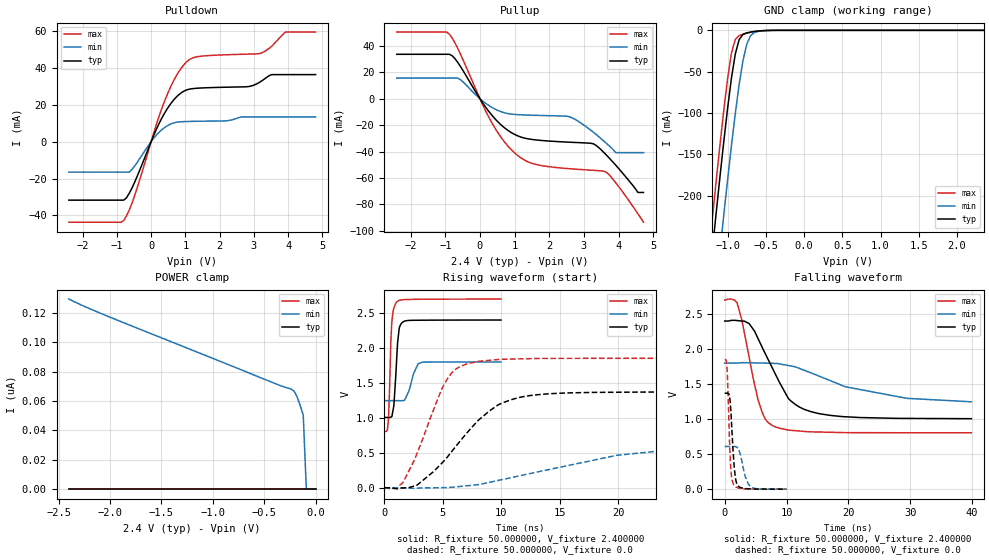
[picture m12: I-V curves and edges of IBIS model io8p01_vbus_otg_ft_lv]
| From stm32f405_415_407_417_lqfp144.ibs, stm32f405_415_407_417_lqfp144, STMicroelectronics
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|   Model io8p01_vbus_otg_ft_lv
[Model]  io8p01_vbus_otg_ft_lv
Model_type I/O
Polarity   Non-Inverting
Enable   Active-Low
Vinl =   0.720000V
Vinh =   1.680000V
Vmeas =  1.200000V
Cref =   50.000000pF
Rref =   100.000000M
Vref =   0.0V
C_comp   3.193600pF   3.100000pF   3.332100pF
[Temperature Range]   25.000000   0.125000k   -40.000000
[Pullup Reference]   2.400000V   1.800000V   2.700000V
[Pulldown Reference]   0.0V   0.0V   0.0V
[POWER Clamp Reference]   2.400000V   1.800000V   2.700000V
[GND Clamp Reference]   0.0V   0.0V   0.0V
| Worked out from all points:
|   slope of the pulldown table from 0 to 0.36 V, typ, clamps not added: 25 ohm
|   slope of the pullup table from 0 to 0.36 V, typ, clamps not added: 27.7 ohm
|   GND clamp passes 1 mA (typ) near -0.61 V on its own axis
|   rising waveform, R_fixture 50.000000, V_fixture 2.400000: 20-80 % time 310ps typ, 630ps min, 224ps max; typ from 1.01 V to 2.4 V
|   rising waveform, R_fixture 50.000000, V_fixture 0.0: 20-80 % time 4.51ns typ, 11ns min, 2.64ns max; typ from 0 V to 1.37 V
|   falling waveform, R_fixture 50.000000, V_fixture 2.400000: 20-80 % time 4.85ns typ, 12.7ns min, 2.75ns max; typ from 2.4 V to 1.01 V
|   falling waveform, R_fixture 50.000000, V_fixture 0.0: 20-80 % time 575ps typ, 1.04ns min, 435ps max; typ from 1.37 V to 0 V
[Pulldown]
|Voltage   I(typ)   I(min)   I(max)
-2.4V     -31.69mA   -16.5mA    -43.66mA
-800mV    -31.69mA   -16.5mA    -42.82mA
-480mV    -21.96mA   -13.17mA   -29.19mA
80mV      3.63mA     1.966mA    5.014mA
480mV     18.16mA    8.738mA    26.02mA
800mV     25.38mA    10.72mA    37.77mA
1.12V     28.53mA    11.02mA    44.6mA
2.8V      29.84mA    13.49mA    47.53mA
3.2V      32.65mA    13.49mA    48.05mA
3.52V     36.43mA    13.49mA    51.84mA
3.92V     36.43mA    13.49mA    59.49mA
4.8V      36.43mA    13.49mA    59.49mA
[Pullup]
|Voltage   I(typ)   I(min)   I(max)
-2.4V     33.57mA    15.56mA    50.37mA
-960mV    33.57mA    15.56mA    50.37mA
-560mV    24.29mA    14.3mA     33.55mA
320mV     -11.75mA   -6.207mA   -17.08mA
960mV     -26.47mA   -11.82mA   -40.02mA
1.52V     -30.88mA   -12.51mA   -49.05mA
2.56V     -32.88mA   -13.49mA   -52.9mA
3.28V     -34.19mA   -25.52mA   -54.18mA
3.6V      -41.31mA   -32.61mA   -54.99mA
3.92V     -50.32mA   -40.8mA    -63.62mA
4.56V     -70.9mA    -40.8mA    -87.08mA
4.72V     -70.9mA    -40.8mA    -93.4mA
[GND_clamp]
|Voltage   I(typ)   I(min)   I(max)
-2.4V     -1.425A    -1.509A    -1.394A
-1.25V    -311.3mA   -401.9mA   -273.4mA
-1.2V     -265.5mA   -356.1mA   -227.3mA
-1.15V    -220.5mA   -310.9mA   -182mA
-1.1V     -176.4mA   -266.2mA   -138mA
-1.05V    -133.9mA   -222.5mA   -96.06mA
-950mV    -57.51mA   -139mA     -27.35mA
-900mV    -28.55mA   -100.5mA   -11.03mA
-850mV    -11.33mA   -65.67mA   -6.322mA
-750mV    -3.069mA   -16.69mA   -3.425mA
-600mV    -864.6uA   -1.294mA   -852.2uA
2.35V     0A         0A         0A
[POWER_clamp]
|Voltage   I(typ)   I(min)   I(max)
-2.4V     0A         129.4nA    0A
-1.98V    0A         116.5nA    0A
-390mV    0A         71.78nA    0A
-240mV    0A         68.22nA    0A
-210mV    0A         66.81nA    0A
-180mV    0A         62.95nA    0A
-120mV    0A         50.47nA    0A
-90mV     0A         0A         0A
0V        0A         0A         0A
[Ramp]
| variable   typ   min   max
dV/dt_r  0.82218/4.50373n   0.36607/11.19903n   1.11102/2.63513n
dV/dt_f  0.83652/4.85156n   0.32286/13.23292n   1.13834/2.75525n
R_load = 50.000000
[Rising Waveform]
R_fixture= 50.000000
V_fixture= 2.400000
V_fixture_min= 1.800000
V_fixture_max= 2.700000
|time   V(typ)   V(min)   V(max)
0s        1.006V     1.247V     804.6mV
340.3ps   1.006V     1.247V     971.5mV
560.6ps   1.012V     1.247V     2.143V
640.6ps   1.024V     1.247V     2.378V
800.8ps   1.167V     1.247V     2.566V
1.041ns   1.825V     1.247V     2.656V
1.261ns   2.28V      1.246V     2.681V
1.682ns   2.381V     1.249V     2.691V
2.903ns   2.397V     1.776V     2.697V
9.97ns    2.4V       1.8V       2.7V
[Rising Waveform]
R_fixture= 50.000000
V_fixture= 0.0
V_fixture_min= 0.0
V_fixture_max= 0.0
|time   V(typ)   V(min)   V(max)
0s        177.7uV    73.62uV    454.6uV
1.602ns   -2.594mV   -134.3uV   78.46mV
2.803ns   39.13mV    -5.997mV   498.4mV
5.045ns   375.6mV    1.766mV    1.46V
5.926ns   554.3mV    9.804mV    1.672V
7.047ns   783.4mV    28.33mV    1.772V
9.69ns    1.182V     103.3mV    1.834V
12.89ns   1.327V     218.7mV    1.849V
26.51ns   1.37V      576mV      1.852V
39.88ns   1.37V      609mV      1.852V
[Falling Waveform]
R_fixture= 50.000000
V_fixture= 2.400000
V_fixture_min= 1.800000
V_fixture_max= 2.700000
|time   V(typ)   V(min)   V(max)
0s        2.4V       1.8V       2.7V
2.002ns   2.407V     1.801V     2.661V
3.924ns   2.365V     1.805V     1.895V
5.445ns   2.14V      1.801V     1.261V
6.567ns   1.932V     1.8V       999.5mV
7.768ns   1.718V     1.796V     907mV
10.33ns   1.291V     1.764V     844.2mV
14.01ns   1.105V     1.657V     818.2mV
29.39ns   1.01V      1.297V     805mV
39.88ns   1.006V     1.247V     804.6mV
[Falling Waveform]
R_fixture= 50.000000
V_fixture= 0.0
V_fixture_min= 0.0
V_fixture_max= 0.0
|time   V(typ)   V(min)   V(max)
0s        1.37V      609mV      1.852V
380.4ps   1.37V      609.1mV    1.725V
860.9ps   1.273V     608.9mV    504.9mV
1.061ns   1.019V     608.6mV    213.5mV
1.401ns   488.7mV    608.8mV    73.88mV
1.742ns   157.8mV    609.7mV    35.08mV
2.342ns   33.79mV    546.6mV    13.71mV
3.343ns   8.003mV    173.8mV    4.09mV
4.464ns   2.726mV    18.5mV     1.536mV
9.97ns    177.7uV    73.62uV    454.6uV
